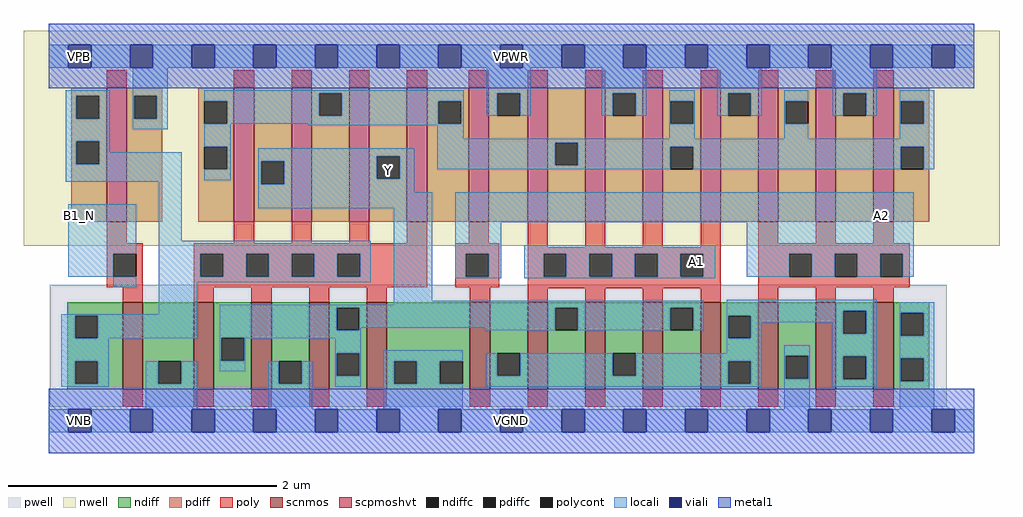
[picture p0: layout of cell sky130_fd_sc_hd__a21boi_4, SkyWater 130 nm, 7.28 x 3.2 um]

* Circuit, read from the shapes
.subckt sky130_fd_sc_hd__a21boi_4 A1 A2 B1_N VGND VNB VPB VPWR Y
XM1 VGND B1_N n1 VNB sky130_fd_pr__nfet_01v8 w=0.65 l=0.15
XM2 Y n1 VGND VNB sky130_fd_pr__nfet_01v8 w=0.65 l=0.15 m=4
XM3 n2 A2 VGND VNB sky130_fd_pr__nfet_01v8 w=0.65 l=0.15 m=4
XM4 Y A1 n2 VNB sky130_fd_pr__nfet_01v8 w=0.65 l=0.15 m=4
XM5 VPWR B1_N n1 VPB sky130_fd_pr__pfet_01v8_hvt w=1 l=0.15
XM6 Y n1 n3 VPB sky130_fd_pr__pfet_01v8_hvt w=1 l=0.15 m=4
XM7 VPWR A2 n3 VPB sky130_fd_pr__pfet_01v8_hvt w=1 l=0.15 m=4
XM8 n3 A1 VPWR VPB sky130_fd_pr__pfet_01v8_hvt w=1 l=0.15 m=4
.ends

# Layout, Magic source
magic
tech sky130B
magscale 1 2
<< nwell >>
rect -38 261 1418 582
<< pwell >>
rect 1 21 1339 203
rect 29 -17 63 21
<< scnmos >>
rect 110 47 140 177
rect 216 47 246 177
rect 302 47 332 177
rect 388 47 418 177
rect 474 47 504 177
rect 628 47 658 177
rect 714 47 744 177
rect 800 47 830 177
rect 886 47 916 177
rect 972 47 1002 177
rect 1058 47 1088 177
rect 1144 47 1174 177
rect 1230 47 1260 177
<< scpmoshvt >>
rect 86 297 116 497
rect 276 297 306 497
rect 362 297 392 497
rect 448 297 478 497
rect 534 297 564 497
rect 626 297 656 497
rect 714 297 744 497
rect 800 297 830 497
rect 886 297 916 497
rect 972 297 1002 497
rect 1058 297 1088 497
rect 1144 297 1174 497
rect 1230 297 1260 497
<< ndiff >>
rect 27 157 110 177
rect 27 123 39 157
rect 73 123 110 157
rect 27 89 110 123
rect 27 55 39 89
rect 73 55 110 89
rect 27 47 110 55
rect 140 89 216 177
rect 140 55 163 89
rect 197 55 216 89
rect 140 47 216 55
rect 246 124 302 177
rect 246 90 257 124
rect 291 90 302 124
rect 246 47 302 90
rect 332 89 388 177
rect 332 55 343 89
rect 377 55 388 89
rect 332 47 388 55
rect 418 169 474 177
rect 418 135 429 169
rect 463 135 474 169
rect 418 101 474 135
rect 418 67 429 101
rect 463 67 474 101
rect 418 47 474 67
rect 504 89 628 177
rect 504 55 515 89
rect 549 55 583 89
rect 617 55 628 89
rect 504 47 628 55
rect 658 101 714 177
rect 658 67 669 101
rect 703 67 714 101
rect 658 47 714 67
rect 744 169 800 177
rect 744 135 755 169
rect 789 135 800 169
rect 744 47 800 135
rect 830 101 886 177
rect 830 67 841 101
rect 875 67 886 101
rect 830 47 886 67
rect 916 169 972 177
rect 916 135 927 169
rect 961 135 972 169
rect 916 47 972 135
rect 1002 157 1058 177
rect 1002 123 1013 157
rect 1047 123 1058 157
rect 1002 89 1058 123
rect 1002 55 1013 89
rect 1047 55 1058 89
rect 1002 47 1058 55
rect 1088 97 1144 177
rect 1088 63 1099 97
rect 1133 63 1144 97
rect 1088 47 1144 63
rect 1174 164 1230 177
rect 1174 130 1185 164
rect 1219 130 1230 164
rect 1174 96 1230 130
rect 1174 62 1185 96
rect 1219 62 1230 96
rect 1174 47 1230 62
rect 1260 161 1313 177
rect 1260 127 1271 161
rect 1305 127 1313 161
rect 1260 93 1313 127
rect 1260 59 1271 93
rect 1305 59 1313 93
rect 1260 47 1313 59
<< pdiff >>
rect 33 485 86 497
rect 33 451 41 485
rect 75 451 86 485
rect 33 417 86 451
rect 33 383 41 417
rect 75 383 86 417
rect 33 297 86 383
rect 116 485 169 497
rect 116 451 127 485
rect 161 451 169 485
rect 116 297 169 451
rect 223 477 276 497
rect 223 443 232 477
rect 266 443 276 477
rect 223 409 276 443
rect 223 375 232 409
rect 266 375 276 409
rect 223 297 276 375
rect 306 387 362 497
rect 306 353 317 387
rect 351 353 362 387
rect 306 297 362 353
rect 392 489 448 497
rect 392 455 403 489
rect 437 455 448 489
rect 392 297 448 455
rect 478 395 534 497
rect 478 361 489 395
rect 523 361 534 395
rect 478 297 534 361
rect 564 477 626 497
rect 564 443 581 477
rect 615 443 626 477
rect 564 297 626 443
rect 656 489 714 497
rect 656 455 669 489
rect 703 455 714 489
rect 656 297 714 455
rect 744 415 800 497
rect 744 381 755 415
rect 789 381 800 415
rect 744 297 800 381
rect 830 489 886 497
rect 830 455 841 489
rect 875 455 886 489
rect 830 297 886 455
rect 916 477 972 497
rect 916 443 927 477
rect 961 443 972 477
rect 916 409 972 443
rect 916 375 927 409
rect 961 375 972 409
rect 916 297 972 375
rect 1002 489 1058 497
rect 1002 455 1013 489
rect 1047 455 1058 489
rect 1002 297 1058 455
rect 1088 477 1144 497
rect 1088 443 1099 477
rect 1133 443 1144 477
rect 1088 297 1144 443
rect 1174 489 1230 497
rect 1174 455 1185 489
rect 1219 455 1230 489
rect 1174 297 1230 455
rect 1260 477 1313 497
rect 1260 443 1271 477
rect 1305 443 1313 477
rect 1260 409 1313 443
rect 1260 375 1271 409
rect 1305 375 1313 409
rect 1260 297 1313 375
<< ndiffc >>
rect 39 123 73 157
rect 39 55 73 89
rect 163 55 197 89
rect 257 90 291 124
rect 343 55 377 89
rect 429 135 463 169
rect 429 67 463 101
rect 515 55 549 89
rect 583 55 617 89
rect 669 67 703 101
rect 755 135 789 169
rect 841 67 875 101
rect 927 135 961 169
rect 1013 123 1047 157
rect 1013 55 1047 89
rect 1099 63 1133 97
rect 1185 130 1219 164
rect 1185 62 1219 96
rect 1271 127 1305 161
rect 1271 59 1305 93
<< pdiffc >>
rect 41 451 75 485
rect 41 383 75 417
rect 127 451 161 485
rect 232 443 266 477
rect 232 375 266 409
rect 317 353 351 387
rect 403 455 437 489
rect 489 361 523 395
rect 581 443 615 477
rect 669 455 703 489
rect 755 381 789 415
rect 841 455 875 489
rect 927 443 961 477
rect 927 375 961 409
rect 1013 455 1047 489
rect 1099 443 1133 477
rect 1185 455 1219 489
rect 1271 443 1305 477
rect 1271 375 1305 409
<< poly >>
rect 86 497 116 523
rect 276 497 306 523
rect 362 497 392 523
rect 448 497 478 523
rect 534 497 564 523
rect 626 497 656 523
rect 714 497 744 523
rect 800 497 830 523
rect 886 497 916 523
rect 972 497 1002 523
rect 1058 497 1088 523
rect 1144 497 1174 523
rect 1230 497 1260 523
rect 86 265 116 297
rect 276 265 306 297
rect 362 265 392 297
rect 448 265 478 297
rect 534 265 564 297
rect 626 265 656 297
rect 86 249 140 265
rect 86 215 96 249
rect 130 215 140 249
rect 86 199 140 215
rect 110 177 140 199
rect 216 249 564 265
rect 216 215 226 249
rect 260 215 294 249
rect 328 215 362 249
rect 396 215 430 249
rect 464 215 564 249
rect 216 199 564 215
rect 606 249 672 265
rect 606 215 622 249
rect 656 215 672 249
rect 606 199 672 215
rect 714 259 744 297
rect 800 259 830 297
rect 886 259 916 297
rect 972 259 1002 297
rect 714 249 1002 259
rect 714 215 738 249
rect 772 215 806 249
rect 840 215 874 249
rect 908 215 942 249
rect 976 215 1002 249
rect 216 177 246 199
rect 302 177 332 199
rect 388 177 418 199
rect 474 177 504 199
rect 628 177 658 199
rect 714 198 1002 215
rect 714 177 744 198
rect 800 177 830 198
rect 886 177 916 198
rect 972 177 1002 198
rect 1058 265 1088 297
rect 1144 265 1174 297
rect 1230 265 1260 297
rect 1058 249 1284 265
rect 1058 215 1104 249
rect 1138 215 1172 249
rect 1206 215 1240 249
rect 1274 215 1284 249
rect 1058 199 1284 215
rect 1058 177 1088 199
rect 1144 177 1174 199
rect 1230 177 1260 199
rect 110 21 140 47
rect 216 21 246 47
rect 302 21 332 47
rect 388 21 418 47
rect 474 21 504 47
rect 628 21 658 47
rect 714 21 744 47
rect 800 21 830 47
rect 886 21 916 47
rect 972 21 1002 47
rect 1058 21 1088 47
rect 1144 21 1174 47
rect 1230 21 1260 47
<< polycont >>
rect 96 215 130 249
rect 226 215 260 249
rect 294 215 328 249
rect 362 215 396 249
rect 430 215 464 249
rect 622 215 656 249
rect 738 215 772 249
rect 806 215 840 249
rect 874 215 908 249
rect 942 215 976 249
rect 1104 215 1138 249
rect 1172 215 1206 249
rect 1240 215 1274 249
<< locali >>
rect 0 527 29 561
rect 63 527 121 561
rect 155 527 213 561
rect 247 527 305 561
rect 339 527 397 561
rect 431 527 489 561
rect 523 527 581 561
rect 615 527 673 561
rect 707 527 765 561
rect 799 527 857 561
rect 891 527 949 561
rect 983 527 1041 561
rect 1075 527 1133 561
rect 1167 527 1225 561
rect 1259 527 1317 561
rect 1351 527 1380 561
rect 25 485 91 493
rect 25 451 41 485
rect 75 451 91 485
rect 25 417 91 451
rect 125 485 177 527
rect 125 451 127 485
rect 161 451 177 485
rect 125 435 177 451
rect 232 489 619 493
rect 232 477 403 489
rect 266 455 403 477
rect 437 477 619 489
rect 437 455 581 477
rect 266 443 581 455
rect 615 443 619 477
rect 653 489 719 527
rect 653 455 669 489
rect 703 455 719 489
rect 825 489 891 527
rect 825 455 841 489
rect 875 455 891 489
rect 925 477 963 493
rect 25 383 41 417
rect 75 401 91 417
rect 232 409 271 443
rect 387 441 619 443
rect 75 383 198 401
rect 25 357 198 383
rect 266 375 271 409
rect 579 421 619 441
rect 925 443 927 477
rect 961 443 963 477
rect 997 489 1063 527
rect 997 455 1013 489
rect 1047 455 1063 489
rect 1097 477 1133 493
rect 925 421 963 443
rect 1097 443 1099 477
rect 1169 489 1235 527
rect 1169 455 1185 489
rect 1219 455 1235 489
rect 1269 477 1321 493
rect 1097 421 1133 443
rect 1269 443 1271 477
rect 1305 443 1321 477
rect 1269 421 1321 443
rect 579 415 1321 421
rect 232 359 271 375
rect 312 395 545 407
rect 312 387 489 395
rect 29 249 130 323
rect 29 215 96 249
rect 96 199 130 215
rect 164 269 198 357
rect 312 353 317 387
rect 351 361 489 387
rect 523 361 545 395
rect 579 381 755 415
rect 789 409 1321 415
rect 789 381 927 409
rect 579 375 927 381
rect 961 375 1271 409
rect 1305 375 1321 409
rect 351 353 545 361
rect 312 341 545 353
rect 312 317 572 341
rect 164 249 480 269
rect 164 215 226 249
rect 260 215 294 249
rect 328 215 362 249
rect 396 215 430 249
rect 464 215 480 249
rect 164 207 480 215
rect 164 159 221 207
rect 514 179 572 317
rect 606 296 1290 341
rect 606 249 675 296
rect 606 215 622 249
rect 656 215 675 249
rect 606 213 675 215
rect 709 249 994 262
rect 709 215 738 249
rect 772 215 806 249
rect 840 215 874 249
rect 908 215 942 249
rect 976 215 994 249
rect 1041 249 1290 296
rect 1041 215 1104 249
rect 1138 215 1172 249
rect 1206 215 1240 249
rect 1274 215 1290 249
rect 709 213 994 215
rect 514 173 977 179
rect 18 157 221 159
rect 18 123 39 157
rect 73 123 221 157
rect 255 169 977 173
rect 255 135 429 169
rect 463 139 755 169
rect 463 135 465 139
rect 651 135 755 139
rect 789 135 927 169
rect 961 135 977 169
rect 1011 164 1235 181
rect 1011 157 1185 164
rect 255 124 465 135
rect 18 89 89 123
rect 255 90 257 124
rect 291 123 465 124
rect 291 90 293 123
rect 18 55 39 89
rect 73 55 89 89
rect 18 51 89 55
rect 144 55 163 89
rect 197 55 221 89
rect 255 74 293 90
rect 427 101 465 123
rect 1011 123 1013 157
rect 1047 147 1185 157
rect 1047 123 1063 147
rect 144 17 221 55
rect 327 55 343 89
rect 377 55 393 89
rect 327 17 393 55
rect 427 67 429 101
rect 463 67 465 101
rect 427 51 465 67
rect 499 89 617 105
rect 1011 101 1063 123
rect 1169 130 1185 147
rect 1219 130 1235 164
rect 499 55 515 89
rect 549 55 583 89
rect 499 17 617 55
rect 653 67 669 101
rect 703 67 841 101
rect 875 89 1063 101
rect 875 67 1013 89
rect 653 55 1013 67
rect 1047 55 1063 89
rect 653 51 1063 55
rect 1097 97 1135 113
rect 1097 63 1099 97
rect 1133 63 1135 97
rect 1097 17 1135 63
rect 1169 96 1235 130
rect 1169 62 1185 96
rect 1219 62 1235 96
rect 1169 51 1235 62
rect 1269 161 1321 177
rect 1269 127 1271 161
rect 1305 127 1321 161
rect 1269 93 1321 127
rect 1269 59 1271 93
rect 1305 59 1321 93
rect 1269 17 1321 59
rect 0 -17 29 17
rect 63 -17 121 17
rect 155 -17 213 17
rect 247 -17 305 17
rect 339 -17 397 17
rect 431 -17 489 17
rect 523 -17 581 17
rect 615 -17 673 17
rect 707 -17 765 17
rect 799 -17 857 17
rect 891 -17 949 17
rect 983 -17 1041 17
rect 1075 -17 1133 17
rect 1167 -17 1225 17
rect 1259 -17 1317 17
rect 1351 -17 1380 17
<< viali >>
rect 29 527 63 561
rect 121 527 155 561
rect 213 527 247 561
rect 305 527 339 561
rect 397 527 431 561
rect 489 527 523 561
rect 581 527 615 561
rect 673 527 707 561
rect 765 527 799 561
rect 857 527 891 561
rect 949 527 983 561
rect 1041 527 1075 561
rect 1133 527 1167 561
rect 1225 527 1259 561
rect 1317 527 1351 561
rect 29 -17 63 17
rect 121 -17 155 17
rect 213 -17 247 17
rect 305 -17 339 17
rect 397 -17 431 17
rect 489 -17 523 17
rect 581 -17 615 17
rect 673 -17 707 17
rect 765 -17 799 17
rect 857 -17 891 17
rect 949 -17 983 17
rect 1041 -17 1075 17
rect 1133 -17 1167 17
rect 1225 -17 1259 17
rect 1317 -17 1351 17
<< metal1 >>
rect 0 561 1380 592
rect 0 527 29 561
rect 63 527 121 561
rect 155 527 213 561
rect 247 527 305 561
rect 339 527 397 561
rect 431 527 489 561
rect 523 527 581 561
rect 615 527 673 561
rect 707 527 765 561
rect 799 527 857 561
rect 891 527 949 561
rect 983 527 1041 561
rect 1075 527 1133 561
rect 1167 527 1225 561
rect 1259 527 1317 561
rect 1351 527 1380 561
rect 0 496 1380 527
rect 0 17 1380 48
rect 0 -17 29 17
rect 63 -17 121 17
rect 155 -17 213 17
rect 247 -17 305 17
rect 339 -17 397 17
rect 431 -17 489 17
rect 523 -17 581 17
rect 615 -17 673 17
rect 707 -17 765 17
rect 799 -17 857 17
rect 891 -17 949 17
rect 983 -17 1041 17
rect 1075 -17 1133 17
rect 1167 -17 1225 17
rect 1259 -17 1317 17
rect 1351 -17 1380 17
rect 0 -48 1380 -17
<< labels >>
flabel locali s 489 357 523 391 0 FreeSans 340 0 0 0 Y
port 8 nsew signal output
flabel locali s 949 221 983 255 0 FreeSans 340 0 0 0 A1
port 1 nsew signal input
flabel locali s 29 289 63 323 0 FreeSans 340 0 0 0 B1_N
port 3 nsew signal input
flabel locali s 1225 289 1259 323 0 FreeSans 340 0 0 0 A2
port 2 nsew signal input
flabel pwell s 29 -17 63 17 0 FreeSans 200 0 0 0 VNB
port 5 nsew ground bidirectional
flabel nwell s 29 527 63 561 0 FreeSans 200 0 0 0 VPB
port 6 nsew power bidirectional
flabel metal1 s 29 -17 63 17 0 FreeSans 200 0 0 0 VGND
port 4 nsew ground bidirectional abutment
flabel metal1 s 29 527 63 561 0 FreeSans 200 0 0 0 VPWR
port 7 nsew power bidirectional abutment
rlabel comment s 0 0 0 0 4 a21boi_4
rlabel metal1 s 0 -48 1380 48 1 VGND
port 4 nsew ground bidirectional abutment
rlabel metal1 s 0 496 1380 592 1 VPWR
port 7 nsew power bidirectional abutment
<< properties >>
string FIXED_BBOX 0 0 1380 544
string GDS_END 4010510
string GDS_FILE $PDKPATH/libs.ref/sky130_fd_sc_hd/gds/sky130_fd_sc_hd.gds
string GDS_START 4001078
string LEFclass CORE
string LEFsite unithd
string LEFsymmetry X Y R90
string path 0.000 0.000 34.500 0.000 
<< end >>
